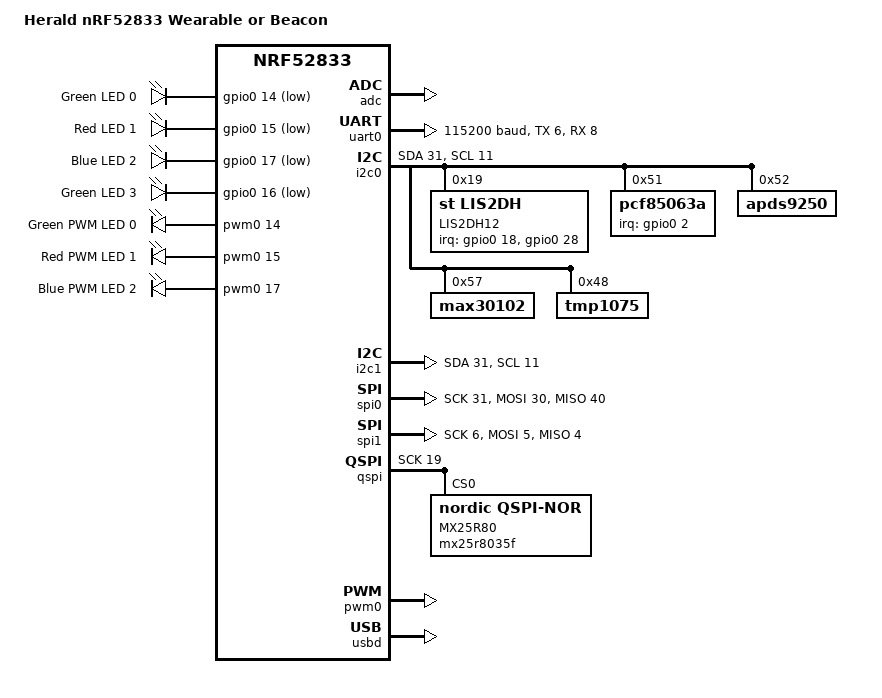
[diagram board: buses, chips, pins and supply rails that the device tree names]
/*
 * Copyright (c) 2021 The Herald Project Contributors
 * 
 * SPDX-License-Identifier: Apache-2.0
 */

/dts-v1/;
#include <nordic/nrf52833_qiaa.dtsi>


/ {
	model = "Herald nRF52833 Wearable or Beacon";
	compatible = "nordic,nRF52833-QIAA", "nordic,nRF52833", "nordic,nRF52", "simple-bus";
	/*compatible = "nordic,nrf52833";*/

	chosen {
		zephyr,console = &uart0;
		zephyr,shell-uart = &uart0;
		zephyr,uart-mcumgr = &uart0;
		zephyr,bt-mon-uart = &uart0;
		zephyr,bt-c2h-uart = &uart0;
		zephyr,sram = &sram0;
		zephyr,flash = &flash0;
		zephyr,code-partition = &slot0_partition;
	};

	leds {
		compatible = "gpio-leds";
		/* The following three act for the single RGB LED */
		led0_green: led_0 {
			gpios = <&gpio0 14 GPIO_ACTIVE_LOW>;
			label = "Green LED 0";
		};
		led1_red: led_1 {
			gpios = <&gpio0 15 GPIO_ACTIVE_LOW>;
			label = "Red LED 1";
		};
		led2_blue: led_2 {
			gpios = <&gpio0 17 GPIO_ACTIVE_LOW>;
			label = "Blue LED 2";
		};
		/* Following is unused */
		led3_green: led_3 {
			gpios = <&gpio0 16 GPIO_ACTIVE_LOW>;
			label = "Green LED 3";
		};
	};

	pwmleds {
		compatible = "pwm-leds";
		pwm_led0_green: pwm_led_0 {
			pwms = <&pwm0 14>;
			label = "Green PWM LED 0";
		};
		pwm_led1_red: pwm_led_1 {
			pwms = <&pwm0 15>;
			label = "Red PWM LED 1";
		};
		pwm_led2_blue: pwm_led_2 {
			pwms = <&pwm0 17>;
			label = "Blue PWM LED 2";
		};
	};

	/* Declaration of aliases */
	aliases {
		led0 = &led0_green;
		led1 = &led1_red;
		led2 = &led2_blue;
		led3 = &led3_green;
		led0-green = &led0_green;
		led1-red = &led1_red;
		led2-blue = &led2_blue;
		led3-green = &led3_green;
		pwm-led0 = &pwm_led0_green;
		pwm-led1 = &pwm_led1_red;
		pwm-led2 = &pwm_led2_blue;
		green-pwm-led = &pwm_led0_green;
		red-pwm-led = &pwm_led1_red;
		blue-pwm-led = &pwm_led2_blue;
	};
};

&adc {
	status = "okay";
};

&gpiote {
	status = "okay";
};

&gpio0 {
	status = "okay";
};

&gpio1 {
	status = "okay";
};

&uart0 {
	compatible = "nordic,nrf-uarte"; /* WAS nrf-uart (no e) */
	current-speed = <115200>;
	/* No GPIO UART on this board. Use RTT or USB instead. */
	/*status = "okay";*/
	tx-pin = <6>;
	rx-pin = <8>;
	rts-pin = <5>;
	cts-pin = <7>;
};

&i2c0 {
	compatible = "nordic,nrf-twi";
  status = "okay";
	sda-pin = <31>; /* sda-pin = <36>; */
	scl-pin = <11>; /* scl-pin = <7>; */
	
	/* MAIN BOARD - Now add I2C devices on the main board */
  /* Accelerometer - ST Microelectronics LIS2DH12 motion sensor */
  lis2dh12@19 { /* Pulled HIGH via VDD. 18 if to GND instead */
    compatible = "st,lis2dh";
    label = "LIS2DH12";
    reg = <0x19>; /* Pulled HIGH via VDD. 18 if to GND instead */
		irq-gpios = <&gpio0 18 0>, <&gpio0 28 0>;
  };

	/* Real Time Clock (and calendar) with interrupt - pcf85063a */
	pcf85063a@51 {
		compatible = "pcf85063a";
		/* status = "okay"; */
		label = "PCF85063A";
		reg = <0x51>;
		irq-gpios = <&gpio0 2 0>;
	};

	/* Daylight sensor - apds9250 */
	apds9250@52 {
		compatible = "apds9250";
		/* status = "okay"; */
		label = "APDS9250";
		reg = <0x52>;
	};

	/* DAUGHTER BOARD ONLY (SPLIT OUT ASAP):- */
	/* Pulse oximeter and heart rate sensor - MAX30102 */
	max30102@57 {
		compatible = "max30102";
		/* status = "okay"; */
		label = "MAX30102";
		reg = <0x57>;
	};

	/* Skin temperature - tmp1075 */
	tmp1075@48 {
		compatible = "tmp1075";
		/* status = "okay"; */
		label = "TMP1075";
		reg = <0x48>;
	};
};

/* TODO Add battery status reading on BT_STAT pin 0.29/ain5 */

&i2c1 {
	compatible = "nordic,nrf-twi";
	/* Cannot be used together with spi1. */
	/*status = "okay";*/
	sda-pin = <31>;
	scl-pin = <11>;
};

&spi0 {
	compatible = "nordic,nrf-spi";
	/* Cannot be used together with i2c0. */
	/*status = "okay";*/
	sck-pin = <31>;
	mosi-pin = <30>;
	miso-pin = <40>;
};

&spi1 {
	compatible = "nordic,nrf-spi";
	/* Cannot be used together with i2c1. */
	status = "okay";
	sck-pin = <6>;
	mosi-pin = <5>;
	miso-pin = <4>;
};

/* TODO add external qspi flash1 definition here */
/* External flash example: https://github.com/zephyrproject-rtos/zephyr/blob/ffaff520eea4ba8ccd64dcdb3ce36f11085ffa9c/boards/arm/ubx_bmd340eval_nrf52840/ubx_bmd340eval_nrf52840.dts#L210 */
/* And this Nordic board: https://github.com/zephyrproject-rtos/zephyr/blob/main/boards/arm/nrf52840_mdk/nrf52840_mdk.dts */

/* See https://devzone.nordicsemi.com/f/nordic-q-a/73758/configure-mcuboot-with-external-qspi-flash-support */
&qspi {
     status = "okay";
     sck-pin = <19>;
     io-pins = <20>, <21>, <22>, <23>;
     csn-pins = <17>;
     mx25r80: mx25r8035f@0 {
         compatible = "nordic,qspi-nor";
         reg = <0>;
         writeoc = "pp4io";
         readoc = "read4io";
         sck-frequency = <8000000>;
         label = "MX25R80";
         jedec-id = [c2 28 14];
         sfdp-bfp = [
             e5 20 f1 ff  ff ff ff 03  44 eb 08 6b  08 3b 04 bb
             ee ff ff ff  ff ff 00 ff  ff ff 00 ff  0c 20 0f 52
             10 d8 00 ff  23 72 f5 00  82 ed 04 cc  44 83 68 44
             30 b0 30 b0  f7 c4 d5 5c  00 be 29 ff  f0 d0 ff ff
         ];
         size = <DT_SIZE_M(1)>;
         has-dpd;
         t-enter-dpd = <10000>;
         t-exit-dpd = <35000>;
     };
	/*
	status = "okay";
	sck-pin = <35>;
	io-pins = <37>, <36>, <34>, <33>;
	csn-pins = <38>;
	mx25r80: mx25r8035f@0 {
		compatible = "nordic,qspi-nor";
		reg = <0>;
		writeoc = "pp4io";
		readoc = "read4io";
		sck-frequency = <8000000>;
		label = "MX25R80";
		jedec-id = [c2 28 17];
		sfdp-bfp = [
			e5 20 f1 ff  ff ff ff 03  44 eb 08 6b  08 3b 04 bb
			ee ff ff ff  ff ff 00 ff  ff ff 00 ff  0c 20 0f 52
			10 d8 00 ff  23 72 f5 00  82 ed 04 cc  44 83 68 44
			30 b0 30 b0  f7 c4 d5 5c  00 be 29 ff  f0 d0 ff ff
		];
		size = <67108864>;
		has-dpd;
		t-enter-dpd = <10000>;
		t-exit-dpd = <35000>;
	};
	*/
};


/* Note: No specific need for nfc configuration, as that's handled by default in the includes in zephyr for the nrf52833 */
/* See the Nordic SDK "Near Field Communications" documentation and NFC tag samples:- */
/* https://developer.nordicsemi.com/nRF_Connect_SDK/doc/latest/nrf/ug_nfc.html?highlight=nfc */

&pwm0 {
	status = "okay";
	ch0-pin = <14>;
	ch0-inverted;
	ch1-pin = <15>;
	ch1-inverted;
	ch2-pin = <17>;
	ch2-inverted;
};

&flash0 {
	/*
	 * For more information, see:
	 * http://docs.zephyrproject.org/latest/guides/dts/index.html#flash-partitions
	 */

	partitions {
		compatible = "fixed-partitions";
		#address-cells = <1>;
		#size-cells = <1>;

		boot_partition: partition@0 {
			label = "mcuboot";
			reg = <0x000000000 0xC000>;
		};
		slot0_partition: partition@c000 {
			label = "image-0";
			reg = <0x0000C000 0x32000>;
		};
		/* TODO consider making the image slots twice the size */
		/* Like this: https://github.com/zephyrproject-rtos/zephyr/blob/12351cb39100a510089979bd4728cf763e7a851b/boards/arm/nrf52840_mdk/nrf52840_mdk.dts#L170 */
		slot1_partition: partition@3e000 {
			label = "image-1";
			reg = <0x0003E000 0x32000>;
		};
		scratch_partition: partition@70000 {
			label = "image-scratch";
			reg = <0x00070000 0xA000>;
		};
		/* The following is application data storage */
		storage_partition: partition@7a000 {
			label = "storage";
			reg = <0x0007A000 0x00006000>;
		};
	};
};

/* TODO include external flash chip storage locations too */

zephyr_udc0: &usbd {
	compatible = "nordic,nrf-usbd";
	status = "okay";
};
